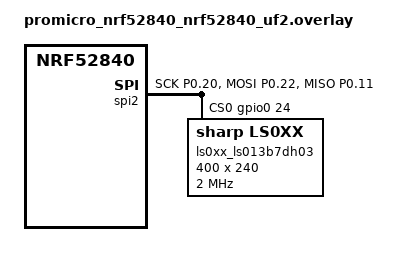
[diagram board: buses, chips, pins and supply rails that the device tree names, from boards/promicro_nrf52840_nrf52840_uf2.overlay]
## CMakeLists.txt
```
cmake_minimum_required(VERSION 3.20.0)

find_package(Zephyr REQUIRED HINTS $ENV{ZEPHYR_BASE})
project(app_display_init)

target_sources(app PRIVATE src/main.c)
set(LVGL_DIR ${ZEPHYR_LVGL_MODULE_DIR})

FILE(GLOB app_sources src/*.c)
target_sources(app PRIVATE ${app_sources})

target_include_directories(app PRIVATE
    ${LVGL_DIR}/demos/
)
```

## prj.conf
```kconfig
CONFIG_SPI=y
CONFIG_GPIO=y
CONFIG_PRINTK=y
CONFIG_LOG=y


CONFIG_DISPLAY=y
CONFIG_LVGL=y
CONFIG_LV_Z_MEM_POOL_SIZE=58368

CONFIG_LV_FONT_MONTSERRAT_24=y
```

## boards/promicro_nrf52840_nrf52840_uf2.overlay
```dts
/ {
    chosen {
        zephyr,display = &ls0xx_ls013b7dh03;
    };
};

&spi2 {
    status = "okay";
    status = "okay";
    pinctrl-0 = <&spi2_default>;
    pinctrl-1 = <&spi2_sleep>;
    pinctrl-names = "default", "sleep";
    cs-gpios = <&gpio0 24 GPIO_ACTIVE_HIGH>; /* D10 */

    ls0xx_ls013b7dh03: ls0xx@0 {
        compatible = "sharp,ls0xx";
        spi-max-frequency = <2000000>;
        reg = <0>;
        width = <400>;
        height = <240>;
    };
};

&pinctrl {
    spi2_default: spi2_default {
        group1 {
            psels = <NRF_PSEL(SPIM_SCK, 0, 20)>,
                    <NRF_PSEL(SPIM_MOSI, 0, 22)>,
                    <NRF_PSEL(SPIM_MISO, 0, 11)>;
        };
    };

    spi2_sleep: spi2_sleep {
        group1 {
            psels = <NRF_PSEL(SPIM_SCK, 0, 20)>,
                    <NRF_PSEL(SPIM_MOSI, 0, 22)>,
                    <NRF_PSEL(SPIM_MISO, 0, 11)>;
        };
    };
};
```

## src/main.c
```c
#include <zephyr/kernel.h>
#include <zephyr/drivers/display.h>
#include <lvgl.h>
#include <lvgl_mem.h>
#include <lv_demos.h>
#include <zephyr/logging/log.h>

#define LOG_LEVEL CONFIG_LOG_DEFAULT_LEVEL
LOG_MODULE_REGISTER(main, LOG_LEVEL);

int main(void)
{
    const struct device *display_dev = DEVICE_DT_GET(DT_CHOSEN(zephyr_display));

    if (!device_is_ready(display_dev)) {
        // LOG_ERR("Display not ready");
        return -1;
    }

#ifdef CONFIG_LV_Z_MEM_POOL_SYS_HEAP
    lvgl_print_heap_info(false);
#else
    LOG_INF("LVGL running in malloc mode");
#endif

    display_blanking_off(display_dev);

    lv_obj_t *label = lv_label_create(lv_scr_act());
    lv_obj_set_style_text_font(label, &lv_font_montserrat_24, 0);
    lv_obj_center(label);

    int i = 0;

    while (1) {
        char buf[32];
        snprintf(buf, sizeof(buf), "%d", i++);
        lv_label_set_text(label, buf);

        lv_timer_handler();
    }
}
```
